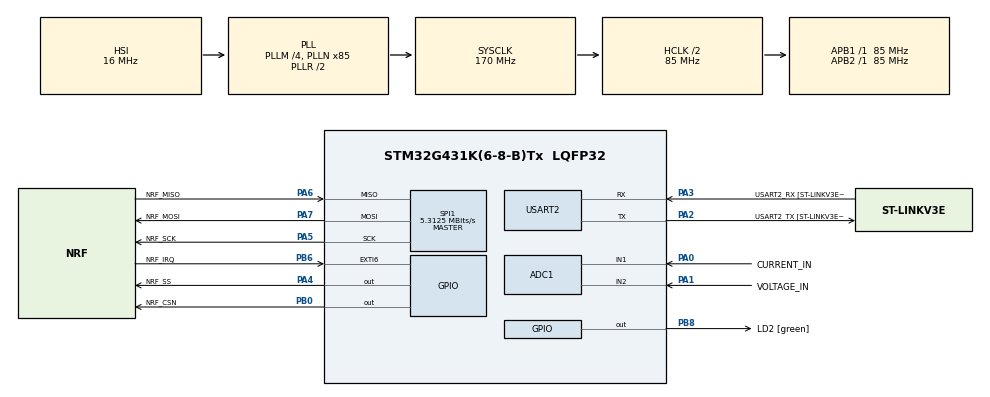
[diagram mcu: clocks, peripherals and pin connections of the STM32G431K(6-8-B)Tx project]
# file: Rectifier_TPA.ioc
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ADC1.Channel-1\#ChannelRegularConversion=ADC_CHANNEL_1
ADC1.Channel-3\#ChannelRegularConversion=ADC_CHANNEL_2
ADC1.ClockPrescaler=ADC_CLOCK_ASYNC_DIV16
ADC1.ContinuousConvMode=ENABLE
ADC1.DMAContinuousRequests=ENABLE
ADC1.NbrOfConversion=2
ADC1.NbrOfConversionFlag=1
ADC1.OffsetNumber-1\#ChannelRegularConversion=ADC_OFFSET_NONE
ADC1.OffsetNumber-3\#ChannelRegularConversion=ADC_OFFSET_NONE
ADC1.Overrun=ADC_OVR_DATA_PRESERVED
ADC1.Rank-1\#ChannelRegularConversion=1
ADC1.Rank-3\#ChannelRegularConversion=2
ADC1.SamplingTime-1\#ChannelRegularConversion=ADC_SAMPLETIME_47CYCLES_5
ADC1.SamplingTime-3\#ChannelRegularConversion=ADC_SAMPLETIME_47CYCLES_5
ADC1.master=1
Dma.ADC1.0.Direction=DMA_PERIPH_TO_MEMORY
Dma.ADC1.0.EventEnable=DISABLE
Dma.ADC1.0.Instance=DMA1_Channel1
Dma.ADC1.0.MemDataAlignment=DMA_MDATAALIGN_WORD
Dma.ADC1.0.MemInc=DMA_MINC_ENABLE
Dma.ADC1.0.Mode=DMA_CIRCULAR
Dma.ADC1.0.PeriphDataAlignment=DMA_PDATAALIGN_WORD
Dma.ADC1.0.PeriphInc=DMA_PINC_DISABLE
Dma.ADC1.0.Polarity=HAL_DMAMUX_REQ_GEN_RISING
Dma.ADC1.0.Priority=DMA_PRIORITY_LOW
Dma.ADC1.0.RequestNumber=1
Dma.ADC1.0.SignalID=NONE
Dma.ADC1.0.SyncEnable=DISABLE
Dma.ADC1.0.SyncPolarity=HAL_DMAMUX_SYNC_NO_EVENT
Dma.ADC1.0.SyncRequestNumber=1
Dma.ADC1.0.SyncSignalID=NONE
Dma.Request0=ADC1
Mcu.Family=STM32G4
Mcu.Name=STM32G431K(6-8-B)Tx
Mcu.Package=LQFP32
NVIC.ADC1_2_IRQn=true\:1\:0\:true\:false\:true\:true\:true\:true
NVIC.DMA1_Channel1_IRQn=true\:1\:0\:true\:false\:true\:false\:true\:true
NVIC.EXTI9_5_IRQn=true\:1\:0\:true\:false\:true\:true\:true\:true
NVIC.PriorityGroup=NVIC_PRIORITYGROUP_4
NVIC.TIM3_IRQn=true\:1\:0\:true\:false\:true\:true\:true\:true
PA0.GPIO_Label=CURRENT_IN
PA0.Mode=IN1-Single-Ended
PA0.Signal=ADC1_IN1
PA1.GPIO_Label=VOLTAGE_IN
PA1.Signal=SharedAnalog_PA1
PA13.GPIO_Label=T_SWDIO
PA13.Mode=Serial_Wire
PA13.Signal=SYS_JTMS-SWDIO
PA14.GPIO_Label=T_SWCLK
PA14.Mode=Serial_Wire
PA14.Signal=SYS_JTCK-SWCLK
PA2.GPIO_Label=USART2_TX [ST-LINKV3E_VCP_RX]
PA2.Mode=Asynchronous
PA2.Signal=USART2_TX
PA3.GPIO_Label=USART2_RX [ST-LINKV3E_VCP_TX]
PA3.Mode=Asynchronous
PA3.Signal=USART2_RX
PA4.GPIO_Label=NRF_SS
PA4.GPIO_PuPd=GPIO_NOPULL
PA4.Signal=GPIO_Output
PA5.GPIO_Label=NRF_SCK
PA5.Mode=Full_Duplex_Master
PA5.Signal=SPI1_SCK
PA6.GPIO_Label=NRF_MISO
PA6.Mode=Full_Duplex_Master
PA6.Signal=SPI1_MISO
PA7.GPIO_Label=NRF_MOSI
PA7.Mode=Full_Duplex_Master
PA7.Signal=SPI1_MOSI
PB0.GPIO_Label=NRF_CSN
PB0.GPIO_PuPd=GPIO_PULLUP
PB0.Signal=GPIO_Output
PB3.GPIO_Label=T_SWO
PB3.Signal=SYS_JTDO-SWO
PB6.GPIO_Label=NRF_IRQ
PB6.GPIO_ModeDefaultEXTI=GPIO_MODE_IT_FALLING
PB6.Signal=GPXTI6
PB8-BOOT0.GPIO_Label=LD2 [green]
PB8-BOOT0.Signal=GPIO_Output
PF0-OSC_IN.Mode=HSE-External-Oscillator
PF0-OSC_IN.Signal=RCC_OSC_IN
PF1-OSC_OUT.Mode=HSE-External-Oscillator
PF1-OSC_OUT.Signal=RCC_OSC_OUT
ProjectManager.HeapSize=0x200
ProjectManager.StackSize=0x400
ProjectManager.TargetToolchain=STM32CubeIDE
RCC.ADC12Freq_Value=170000000
RCC.AHBCLKDivider=RCC_SYSCLK_DIV2
RCC.AHBFreq_Value=85000000
RCC.APB1Freq_Value=85000000
RCC.APB1TimFreq_Value=85000000
RCC.APB2Freq_Value=85000000
RCC.APB2TimFreq_Value=85000000
RCC.CK48CLockSelection=RCC_USBCLKSOURCE_HSI48
RCC.CortexFreq_Value=85000000
RCC.EXTERNAL_CLOCK_VALUE=12288000
RCC.HCLKFreq_Value=85000000
RCC.HSE_VALUE=8000000
RCC.HSI48_VALUE=48000000
RCC.HSI_VALUE=16000000
RCC.LSE_VALUE=32768
RCC.PLLM=RCC_PLLM_DIV4
RCC.PLLN=85
RCC.SYSCLKFreq_VALUE=170000000
RCC.SYSCLKSource=RCC_SYSCLKSOURCE_PLLCLK
RCC.USBFreq_Value=48000000
RCC.VCOOutputFreq_Value=340000000
SH.SharedAnalog_PA1.0=ADC2_IN2
SH.SharedAnalog_PA1.1=ADC1_IN2,IN2-Single-Ended
SPI1.BaudRatePrescaler=SPI_BAUDRATEPRESCALER_16
SPI1.CalculateBaudRate=5.3125 MBits/s
SPI1.DataSize=SPI_DATASIZE_8BIT
SPI1.Direction=SPI_DIRECTION_2LINES
SPI1.FirstBit=SPI_FIRSTBIT_MSB
SPI1.Mode=SPI_MODE_MASTER
SPI1.NSSPMode=SPI_NSS_PULSE_DISABLE
SPI1.VirtualType=VM_MASTER
TIM3.PeriodNoDither=652-1
TIM3.Prescaler=651-1
USART2.VirtualMode-Asynchronous=VM_ASYNC
USART2.WordLength=WORDLENGTH_8B
VP_RNG_VS_RNG.Mode=RNG_Activate
VP_SYS_VS_DBSignals.Mode=DisableDeadBatterySignals
VP_TIM3_VS_ClockSourceINT.Mode=Internal
board=NUCLEO-G431KB

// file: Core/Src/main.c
/* USER CODE BEGIN Header */
/**
    ******************************************************************************
    * @file           : main.c
    * @brief          : Main program body
    ******************************************************************************
    * @attention
    *
    * Copyright (c) 2025 STMicroelectronics.
    * All rights reserved.
    *
    * This software is licensed under terms that can be found in the LICENSE file
    * in the root directory of this software component.
    * If no LICENSE file comes with this software, it is provided AS-IS.
    *
    ******************************************************************************
    */
/* USER CODE END Header */
#include "main.h"

/* USER CODE BEGIN Includes */
#include "Drivers/myNRF.h"
#include <string.h>
#include <stdio.h>
#include <stdbool.h>
/* USER CODE END Includes */

/* USER CODE BEGIN PTD */
typedef struct DATA
{
    uint32_t V_out_int;
    uint32_t I_out_int;
} data_t;

typedef struct MESSAGE {
	uint32_t id;
	data_t data;

} message_t;
/* USER CODE END PTD */

/* USER CODE BEGIN PD */
#define ADDR_WIDTH 5 // Размер адреcа принимающего канал приемопередатчика
/* USER CODE END PD */

ADC_HandleTypeDef hadc1;
DMA_HandleTypeDef hdma_adc1;

RNG_HandleTypeDef hrng;

SPI_HandleTypeDef hspi1;

TIM_HandleTypeDef htim3;

UART_HandleTypeDef huart2;

/* USER CODE BEGIN PV */

// Переменные дл�? контрол�? конечного аппарата
data_t data = {
    .V_out_int = 0,
    .I_out_int = 0
};

volatile message_t message = {
	.id = 0,
	.data.V_out_int = 0,
	.data.I_out_int = 0
};

// Переменные дл�? коммуникации по SPI
const uint32_t CPOL = SPI_CR1_CPOL * 0;
const uint32_t CPHA = SPI_CR1_CPHA * 0;
uint8_t success_transmit;
const uint32_t pipe = 1024; //111156789; // адрес рабочей трубы;
/* USER CODE END PV */

void SystemClock_Config(void);
static void MX_GPIO_Init(void);
static void MX_DMA_Init(void);
static void MX_ADC1_Init(void);
static void MX_USART2_UART_Init(void);
static void MX_SPI1_Init(void);
static void MX_RNG_Init(void);
static void MX_TIM3_Init(void);
/* USER CODE BEGIN PFP */
const void NRF24_Init(void);
/* USER CODE END PFP */

/* USER CODE BEGIN 0 */

// period == 0.005 s
void HAL_TIM_PeriodElapsedCallback(TIM_HandleTypeDef *htim)
{
	if (htim->Instance == TIM3){
		message.data.I_out_int = data.I_out_int;
		message.data.V_out_int = data.V_out_int;
		NRF24_write(&message, sizeof(message));
	}

}

const void NRF24_Init()
{
	NRF24_begin(hspi1);
	nrf24_DebugUART_Init(huart2);
	NRF24_setDataRate(RF24_250KBPS);
	NRF24_setCRCLength(RF24_CRC_16);
	NRF24_setPALevel(RF24_PA_m18dB);
	NRF24_setChannel(0x6f);
	NRF24_setPayloadSize(sizeof(message));
	NRF24_disableDynamicPayloads();
	NRF24_setAutoAck(0);
	NRF24_powerUp();
	NRF24_stopListening();
	NRF24_openWritingPipe(pipe);
	  printRadioSettings();
	  printStatusReg();
	  printConfigReg();
	  printFIFOstatus();

}

int __io_putchar(int ch){
	HAL_UART_Transmit(&huart2, (uint8_t*)&ch, 1, 0xFFFF);
}
/* USER CODE END 0 */

int main(void)
{

  /* MCU Configuration--------------------------------------------------------*/

  /* Reset of all peripherals, Initializes the Flash interface and the Systick. */
  HAL_Init();

  /* Configure the system clock */
  SystemClock_Config();

  /* Initialize all configured peripherals */
  MX_GPIO_Init();
  MX_DMA_Init();
  MX_ADC1_Init();
  MX_USART2_UART_Init();
  MX_SPI1_Init();
  MX_RNG_Init();
  MX_TIM3_Init();
  /* USER CODE BEGIN 2 */
    HAL_ADCEx_Calibration_Start(&hadc1, ADC_SINGLE_ENDED);
    //GPIO_Init();
//    csn_high();
//	ce_low();
    HAL_Delay(5);
    printf("Init NRF...\n\r");
  NRF24_Init();
  HAL_Delay(5000);

	// Один раз при инициализации присваиваем сообщениям случайный id
	HAL_StatusTypeDef initId = HAL_RNG_GenerateRandomNumber(&hrng, &message.id);

	  if (initId == HAL_OK)
	  {
	    printf("Init complete! My Id: %li\n\r", message.id);

	  }else {
		  Error_Handler();
	  }
  /* USER CODE END 2 */

  /* Infinite loop */
  /* USER CODE BEGIN WHILE */
	HAL_TIM_Base_Start_IT(&htim3);
    HAL_ADC_Start_DMA(&hadc1, (uint32_t*)&data, 2);
    while (1)
    {
    	printf("My Id: %li\n\r", message.id);
    	printf("I int: %li\n\r", message.data.I_out_int);
    	printf("V int: %li\n\r", message.data.V_out_int);
    /* USER CODE END WHILE */

    }
}

void SystemClock_Config(void)
{
  RCC_OscInitTypeDef RCC_OscInitStruct = {0};
  RCC_ClkInitTypeDef RCC_ClkInitStruct = {0};

  /** Configure the main internal regulator output voltage
  */
  HAL_PWREx_ControlVoltageScaling(PWR_REGULATOR_VOLTAGE_SCALE1);

  /** Initializes the RCC Oscillators according to the specified parameters
  * in the RCC_OscInitTypeDef structure.
  */
  RCC_OscInitStruct.OscillatorType = RCC_OSCILLATORTYPE_HSI|RCC_OSCILLATORTYPE_HSI48;
  RCC_OscInitStruct.HSIState = RCC_HSI_ON;
  RCC_OscInitStruct.HSICalibrationValue = RCC_HSICALIBRATION_DEFAULT;
  RCC_OscInitStruct.HSI48State = RCC_HSI48_ON;
  RCC_OscInitStruct.PLL.PLLState = RCC_PLL_ON;
  RCC_OscInitStruct.PLL.PLLSource = RCC_PLLSOURCE_HSI;
  RCC_OscInitStruct.PLL.PLLM = RCC_PLLM_DIV4;
  RCC_OscInitStruct.PLL.PLLN = 85;
  RCC_OscInitStruct.PLL.PLLP = RCC_PLLP_DIV2;
  RCC_OscInitStruct.PLL.PLLQ = RCC_PLLQ_DIV2;
  RCC_OscInitStruct.PLL.PLLR = RCC_PLLR_DIV2;
  if (HAL_RCC_OscConfig(&RCC_OscInitStruct) != HAL_OK)
  {
    Error_Handler();
  }

  /** Initializes the CPU, AHB and APB buses clocks
  */
  RCC_ClkInitStruct.ClockType = RCC_CLOCKTYPE_HCLK|RCC_CLOCKTYPE_SYSCLK
                              |RCC_CLOCKTYPE_PCLK1|RCC_CLOCKTYPE_PCLK2;
  RCC_ClkInitStruct.SYSCLKSource = RCC_SYSCLKSOURCE_PLLCLK;
  RCC_ClkInitStruct.AHBCLKDivider = RCC_SYSCLK_DIV2;
  RCC_ClkInitStruct.APB1CLKDivider = RCC_HCLK_DIV1;
  RCC_ClkInitStruct.APB2CLKDivider = RCC_HCLK_DIV1;

  if (HAL_RCC_ClockConfig(&RCC_ClkInitStruct, FLASH_LATENCY_2) != HAL_OK)
  {
    Error_Handler();
  }
}

static void MX_ADC1_Init(void)
{

  ADC_MultiModeTypeDef multimode = {0};
  ADC_ChannelConfTypeDef sConfig = {0};

  /** Common config
  */
  hadc1.Instance = ADC1;
  hadc1.Init.ClockPrescaler = ADC_CLOCK_ASYNC_DIV16;
  hadc1.Init.Resolution = ADC_RESOLUTION_12B;
  hadc1.Init.DataAlign = ADC_DATAALIGN_RIGHT;
  hadc1.Init.GainCompensation = 0;
  hadc1.Init.ScanConvMode = ADC_SCAN_ENABLE;
  hadc1.Init.EOCSelection = ADC_EOC_SINGLE_CONV;
  hadc1.Init.LowPowerAutoWait = DISABLE;
  hadc1.Init.ContinuousConvMode = ENABLE;
  hadc1.Init.NbrOfConversion = 2;
  hadc1.Init.DiscontinuousConvMode = DISABLE;
  hadc1.Init.ExternalTrigConv = ADC_SOFTWARE_START;
  hadc1.Init.ExternalTrigConvEdge = ADC_EXTERNALTRIGCONVEDGE_NONE;
  hadc1.Init.DMAContinuousRequests = ENABLE;
  hadc1.Init.Overrun = ADC_OVR_DATA_PRESERVED;
  hadc1.Init.OversamplingMode = DISABLE;
  if (HAL_ADC_Init(&hadc1) != HAL_OK)
  {
    Error_Handler();
  }

  /** Configure the ADC multi-mode
  */
  multimode.Mode = ADC_MODE_INDEPENDENT;
  if (HAL_ADCEx_MultiModeConfigChannel(&hadc1, &multimode) != HAL_OK)
  {
    Error_Handler();
  }

  /** Configure Regular Channel
  */
  sConfig.Channel = ADC_CHANNEL_1;
  sConfig.Rank = ADC_REGULAR_RANK_1;
  sConfig.SamplingTime = ADC_SAMPLETIME_47CYCLES_5;
  sConfig.SingleDiff = ADC_SINGLE_ENDED;
  sConfig.OffsetNumber = ADC_OFFSET_NONE;
  sConfig.Offset = 0;
  if (HAL_ADC_ConfigChannel(&hadc1, &sConfig) != HAL_OK)
  {
    Error_Handler();
  }

  /** Configure Regular Channel
  */
  sConfig.Channel = ADC_CHANNEL_2;
  sConfig.Rank = ADC_REGULAR_RANK_2;
  if (HAL_ADC_ConfigChannel(&hadc1, &sConfig) != HAL_OK)
  {
    Error_Handler();
  }

}

static void MX_RNG_Init(void)
{

  hrng.Instance = RNG;
  hrng.Init.ClockErrorDetection = RNG_CED_ENABLE;
  if (HAL_RNG_Init(&hrng) != HAL_OK)
  {
    Error_Handler();
  }

}

static void MX_SPI1_Init(void)
{

  /* SPI1 parameter configuration*/
  hspi1.Instance = SPI1;
  hspi1.Init.Mode = SPI_MODE_MASTER;
  hspi1.Init.Direction = SPI_DIRECTION_2LINES;
  hspi1.Init.DataSize = SPI_DATASIZE_8BIT;
  hspi1.Init.CLKPolarity = SPI_POLARITY_LOW;
  hspi1.Init.CLKPhase = SPI_PHASE_1EDGE;
  hspi1.Init.NSS = SPI_NSS_SOFT;
  hspi1.Init.BaudRatePrescaler = SPI_BAUDRATEPRESCALER_16;
  hspi1.Init.FirstBit = SPI_FIRSTBIT_MSB;
  hspi1.Init.TIMode = SPI_TIMODE_DISABLE;
  hspi1.Init.CRCCalculation = SPI_CRCCALCULATION_DISABLE;
  hspi1.Init.CRCPolynomial = 7;
  hspi1.Init.CRCLength = SPI_CRC_LENGTH_DATASIZE;
  hspi1.Init.NSSPMode = SPI_NSS_PULSE_DISABLE;
  if (HAL_SPI_Init(&hspi1) != HAL_OK)
  {
    Error_Handler();
  }
  /* USER CODE BEGIN SPI1_Init 2 */
  __HAL_SPI_ENABLE(&hspi1);
  /* USER CODE END SPI1_Init 2 */

}

static void MX_TIM3_Init(void)
{

  TIM_ClockConfigTypeDef sClockSourceConfig = {0};
  TIM_MasterConfigTypeDef sMasterConfig = {0};

  htim3.Instance = TIM3;
  htim3.Init.Prescaler = 651-1;
  htim3.Init.CounterMode = TIM_COUNTERMODE_UP;
  htim3.Init.Period = 651;
  htim3.Init.ClockDivision = TIM_CLOCKDIVISION_DIV1;
  htim3.Init.AutoReloadPreload = TIM_AUTORELOAD_PRELOAD_DISABLE;
  if (HAL_TIM_Base_Init(&htim3) != HAL_OK)
  {
    Error_Handler();
  }
  sClockSourceConfig.ClockSource = TIM_CLOCKSOURCE_INTERNAL;
  if (HAL_TIM_ConfigClockSource(&htim3, &sClockSourceConfig) != HAL_OK)
  {
    Error_Handler();
  }
  sMasterConfig.MasterOutputTrigger = TIM_TRGO_RESET;
  sMasterConfig.MasterSlaveMode = TIM_MASTERSLAVEMODE_DISABLE;
  if (HAL_TIMEx_MasterConfigSynchronization(&htim3, &sMasterConfig) != HAL_OK)
  {
    Error_Handler();
  }

}

static void MX_USART2_UART_Init(void)
{

  huart2.Instance = USART2;
  huart2.Init.BaudRate = 115200;
  huart2.Init.WordLength = UART_WORDLENGTH_8B;
  huart2.Init.StopBits = UART_STOPBITS_1;
  huart2.Init.Parity = UART_PARITY_NONE;
  huart2.Init.Mode = UART_MODE_TX_RX;
  huart2.Init.HwFlowCtl = UART_HWCONTROL_NONE;
  huart2.Init.OverSampling = UART_OVERSAMPLING_16;
  huart2.Init.OneBitSampling = UART_ONE_BIT_SAMPLE_DISABLE;
  huart2.Init.ClockPrescaler = UART_PRESCALER_DIV1;
  huart2.AdvancedInit.AdvFeatureInit = UART_ADVFEATURE_NO_INIT;
  if (HAL_UART_Init(&huart2) != HAL_OK)
  {
    Error_Handler();
  }
  if (HAL_UARTEx_SetTxFifoThreshold(&huart2, UART_TXFIFO_THRESHOLD_1_8) != HAL_OK)
  {
    Error_Handler();
  }
  if (HAL_UARTEx_SetRxFifoThreshold(&huart2, UART_RXFIFO_THRESHOLD_1_8) != HAL_OK)
  {
    Error_Handler();
  }
  if (HAL_UARTEx_DisableFifoMode(&huart2) != HAL_OK)
  {
    Error_Handler();
  }

}

static void MX_DMA_Init(void)
{

  /* DMA controller clock enable */
  __HAL_RCC_DMAMUX1_CLK_ENABLE();
  __HAL_RCC_DMA1_CLK_ENABLE();

  /* DMA interrupt init */
  /* DMA1_Channel1_IRQn interrupt configuration */
  HAL_NVIC_SetPriority(DMA1_Channel1_IRQn, 1, 0);
  HAL_NVIC_EnableIRQ(DMA1_Channel1_IRQn);

}

static void MX_GPIO_Init(void)
{
  GPIO_InitTypeDef GPIO_InitStruct = {0};

  /* GPIO Ports Clock Enable */
  __HAL_RCC_GPIOF_CLK_ENABLE();
  __HAL_RCC_GPIOA_CLK_ENABLE();
  __HAL_RCC_GPIOB_CLK_ENABLE();

  /*Configure GPIO pin Output Level */
  HAL_GPIO_WritePin(NRF_SS_GPIO_Port, NRF_SS_Pin, GPIO_PIN_RESET);

  /*Configure GPIO pin Output Level */
  HAL_GPIO_WritePin(GPIOB, NRF_CSN_Pin|LD2_Pin, GPIO_PIN_RESET);

  /*Configure GPIO pin : VOLTAGE_IN_Pin */
  GPIO_InitStruct.Pin = VOLTAGE_IN_Pin;
  GPIO_InitStruct.Mode = GPIO_MODE_ANALOG;
  GPIO_InitStruct.Pull = GPIO_NOPULL;
  HAL_GPIO_Init(VOLTAGE_IN_GPIO_Port, &GPIO_InitStruct);

  /*Configure GPIO pin : NRF_SS_Pin */
  GPIO_InitStruct.Pin = NRF_SS_Pin;
  GPIO_InitStruct.Mode = GPIO_MODE_OUTPUT_PP;
  GPIO_InitStruct.Pull = GPIO_NOPULL;
  GPIO_InitStruct.Speed = GPIO_SPEED_FREQ_LOW;
  HAL_GPIO_Init(NRF_SS_GPIO_Port, &GPIO_InitStruct);

  /*Configure GPIO pin : NRF_CSN_Pin */
  GPIO_InitStruct.Pin = NRF_CSN_Pin;
  GPIO_InitStruct.Mode = GPIO_MODE_OUTPUT_PP;
  GPIO_InitStruct.Pull = GPIO_PULLUP;
  GPIO_InitStruct.Speed = GPIO_SPEED_FREQ_LOW;
  HAL_GPIO_Init(NRF_CSN_GPIO_Port, &GPIO_InitStruct);

  /*Configure GPIO pin : NRF_IRQ_Pin */
  GPIO_InitStruct.Pin = NRF_IRQ_Pin;
  GPIO_InitStruct.Mode = GPIO_MODE_IT_FALLING;
  GPIO_InitStruct.Pull = GPIO_NOPULL;
  HAL_GPIO_Init(NRF_IRQ_GPIO_Port, &GPIO_InitStruct);

  /*Configure GPIO pin : LD2_Pin */
  GPIO_InitStruct.Pin = LD2_Pin;
  GPIO_InitStruct.Mode = GPIO_MODE_OUTPUT_PP;
  GPIO_InitStruct.Pull = GPIO_NOPULL;
  GPIO_InitStruct.Speed = GPIO_SPEED_FREQ_LOW;
  HAL_GPIO_Init(LD2_GPIO_Port, &GPIO_InitStruct);

  /* EXTI interrupt init*/
  HAL_NVIC_SetPriority(EXTI9_5_IRQn, 1, 0);
  HAL_NVIC_EnableIRQ(EXTI9_5_IRQn);

}

void Error_Handler(void)
{
  /* USER CODE BEGIN Error_Handler_Debug */
    /* User can add his own implementation to report the HAL error return state */
    __disable_irq();
    while (1)
    {
    	printf("Error in init code");
    }
  /* USER CODE END Error_Handler_Debug */
}
